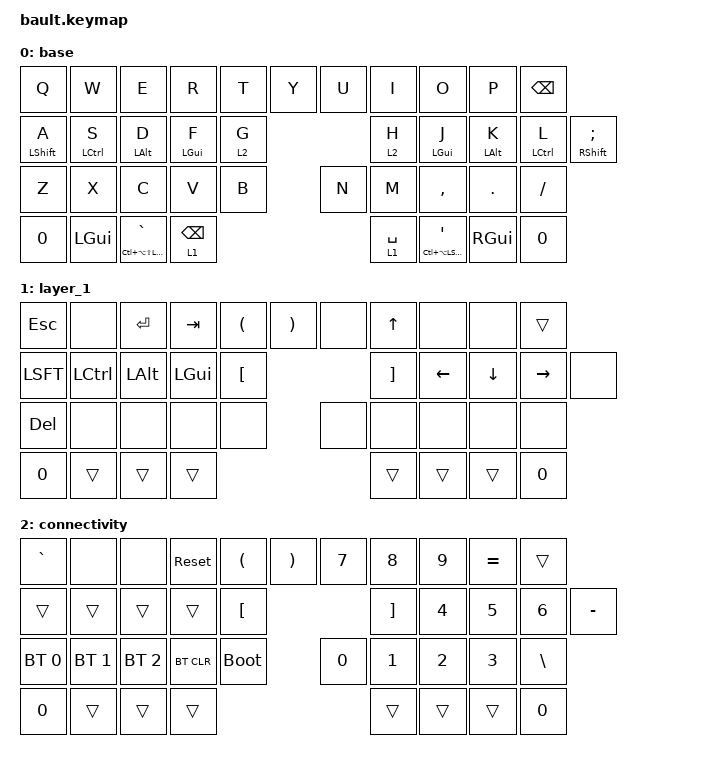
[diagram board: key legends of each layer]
#include <behaviors.dtsi>
#include <dt-bindings/zmk/keys.h>
#include <dt-bindings/zmk/bt.h>

&mt {
   tapping_term_ms = <190>;
};

/ {

    behaviors {
        hm: homerow_mods {
            compatible = "zmk,behavior-hold-tap";
            label = "HOMEROW_MODS";
            #binding-cells = <2>;
            tapping-term-ms = <190>;
            quick-tap-ms = <0>;
            flavor = "tap-preferred";
            bindings = <&kp>, <&kp>;
        };
        hl: homerow_layers {
            compatible = "zmk,behavior-hold-tap";
            label = "HOMEROW_LAYERS";
            #binding-cells = <2>;
            tapping-term-ms = <190>;
            quick-tap-ms = <0>;
            flavor = "tap-preferred";
            bindings = <&mo>, <&kp>;
        };
    };


    keymap {
        compatible = "zmk,keymap";

        base {
            bindings = <
                &kp Q      &kp W      &kp E      &kp R      &kp T      &kp Y      &kp U      &kp I      &kp O      &kp P      &kp BSPC
                &hm LSHFT A   &hm LCTRL S   &hm LALT D    &hm LGUI F    &hl 2 G   &hl 2 H       &hm LGUI J    &hm LALT K    &hm LCTRL L   &hm RSHFT SEMI
                &kp Z      &kp X      &kp C      &kp V      &kp B      &kp N      &kp M      &kp COMMA      &kp PERIOD      &kp FSLH
                &kp N0      &kp LGUI  &hm LC(LA(LS(LGUI))) GRAVE  &lt 1 BSPC &lt 1 SPACE  &hm LC(LA(LSHFT)) SQT  &kp RGUI     &kp N0
            >;
        };


        layer_1 {
            bindings = <
                &kp ESC       &none         &kp RET        &kp TAB       &kp LPAR   &kp RPAR      &none         &kp UP       &none          &none     &trans
                &kp LSFT      &kp LCTRL     &kp LALT       &kp LGUI      &kp LBKT   &kp RBKT      &kp LEFT      &kp DOWN     &kp RIGHT      &none
                &kp DEL       &none         &none          &none         &none      &none         &none         &none        &none          &none
                &kp N0   &trans  &trans  &trans  &trans  &trans    &trans &kp N0
            >;
        };


        connectivity {
            bindings = <
                &kp GRAVE     &none        &none           &sys_reset    &kp LPAR   &kp RPAR      &kp N7         &kp N8      &kp N9          &kp EQUAL  &trans
                &trans        &trans       &trans          &trans        &kp LBKT   &kp RBKT      &kp N4         &kp N5      &kp N6          &kp MINUS
                &bt BT_SEL 0  &bt BT_SEL 1 &bt BT_SEL 2    &bt BT_CLR    &bootloader  &kp N0        &kp N1         &kp N2      &kp N3          &kp BSLH
                &kp N0   &trans  &trans  &trans  &trans    &trans        &trans &kp N0
            >;
        };
    };
};
